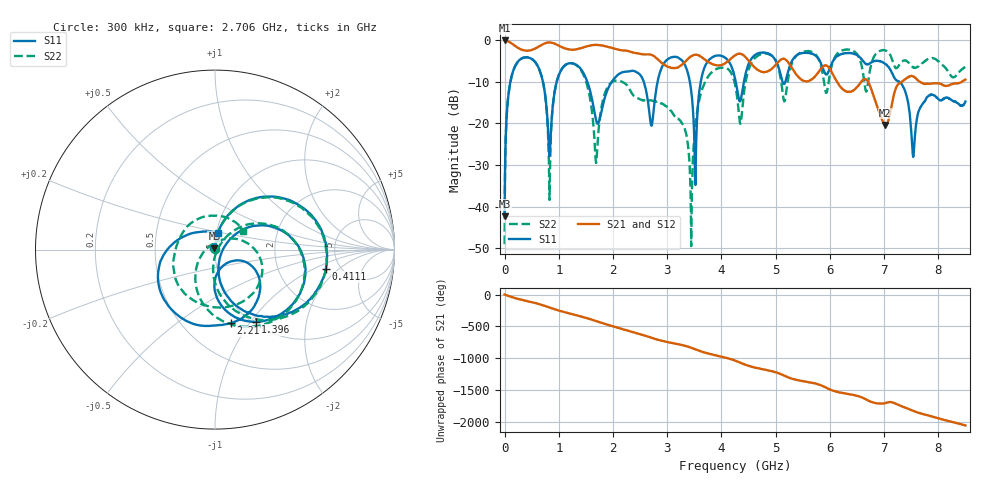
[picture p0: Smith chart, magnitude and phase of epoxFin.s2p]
# Hz S RI R 50
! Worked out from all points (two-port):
!   1201 points, 300 kHz to 8.5 GHz, reference 50 ohm
!   highest |S21| = 0.00 dB at 7.383 MHz (marker M1); lowest = -20.4 dB at 7.02 GHz (marker M2)
!   |S21| within 3 dB of the highest: start of sweep to 2.409 GHz
!   lowest |S11| = -42.4 dB at 300 kHz (marker M3), VSWR 1.02, Z = 49.7 + j0.68 ohm
!   |S11| at or under -10 dB: 1.527 GHz to 1.975 GHz (448.6 MHz wide, 25.6 % of centre); 2.569 GHz to 2.821 GHz (252.6 MHz wide, 9.37 % of centre); 7.284 GHz to end of sweep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
!   |S22| runs from -49.6 to -2.2 dB; largest |S21 - S12| = 0.0069
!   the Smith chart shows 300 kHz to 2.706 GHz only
!   S11 on the Smith chart (normalised r, x): 300 kHz: 0.99, +0.01; 411.1 MHz: 3.84, -1.36; 1.396 GHz: 1.03, -1.06; 2.21 GHz: 0.82, -0.82; 2.706 GHz: 1.02, +0.19
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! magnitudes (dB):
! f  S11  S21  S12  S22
! 300 kHz  -42.4  0.0  0.0  -49.1
! 7.383 MHz  -32.1  0.0  0.0  -32.2
! 106.5 MHz  -10.0  -0.5  -0.5  -10.0
! 411.1 MHz  -4.1  -2.5  -2.5  -4.1
! 687.4 MHz  -8.9  -1.0  -1.1  -8.9
! 829 MHz  -27.9  -0.5  -0.5  -38.4
! 1.006 GHz  -8.2  -1.3  -1.3  -8.1
! 1.396 GHz  -6.7  -1.9  -1.9  -6.9
! 1.417 GHz  -7.1  -1.8  -1.8  -7.3
! 1.686 GHz  -19.1  -1.1  -1.1  -29.5
! 2.21 GHz  -7.6  -2.4  -2.4  -10.2
! 2.706 GHz  -20.5  -3.4  -3.5  -14.4
! 2.841 GHz  -8.9  -4.7  -4.8  -14.8
! 3.436 GHz  -11.5  -3.9  -3.9  -40.6
! 3.521 GHz  -34.8  -3.4  -3.4  -20.2
! 3.698 GHz  -6.2  -4.7  -4.7  -10.0
! 4.25 GHz  -9.1  -3.6  -3.6  -10.5
! 5.667 GHz  -3.2  -9.4  -9.4  -2.8
! 7.02 GHz  -5.6  -20.4  -20.3  -2.4
! 7.09 GHz  -6.5  -18.7  -18.7  -3.0
! 7.537 GHz  -28.1  -8.7  -8.6  -6.4
! 8.5 GHz  -14.7  -9.5  -9.4  -6.4
